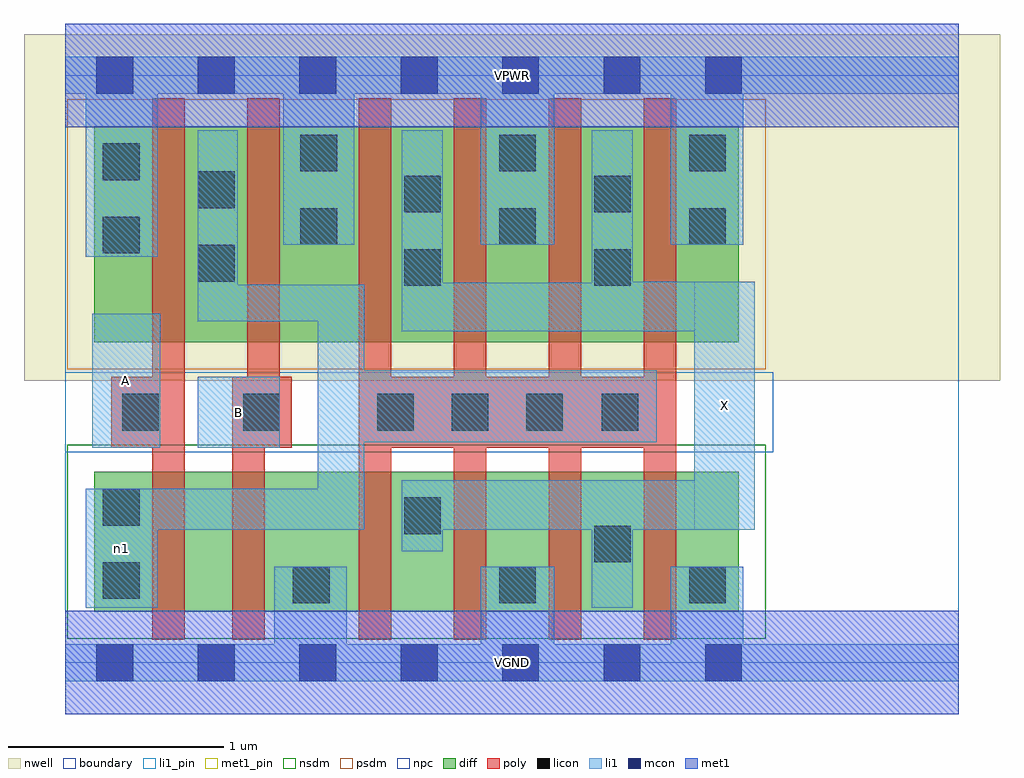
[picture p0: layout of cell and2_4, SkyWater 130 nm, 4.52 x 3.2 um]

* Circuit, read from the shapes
.subckt and2_4 A B VGND VPWR X n1
XM1 n2 A n1 VSUBS sky130_fd_pr__nfet_01v8 w=0.65 l=0.15
XM2 VGND B n2 VSUBS sky130_fd_pr__nfet_01v8 w=0.65 l=0.15
XM3 X n1 VGND VSUBS sky130_fd_pr__nfet_01v8 w=0.65 l=0.15 m=4
XM4 n1 A VPWR n3 sky130_fd_pr__pfet_01v8 w=1 l=0.15
XM5 VPWR B n1 n3 sky130_fd_pr__pfet_01v8 w=1 l=0.15
XM6 X n1 VPWR n3 sky130_fd_pr__pfet_01v8 w=1 l=0.15 m=4
.ends

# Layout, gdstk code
import gdstk
lib = gdstk.Library(unit=1e-6, precision=1e-09)
def R(c, l, rs):  # rectangles x0, y0, x1, y1
    for r in rs: c.add(gdstk.rectangle(r[:2], r[2:], *l))
def A(c, l, x, y, w, h, nx, ny, dx, dy):  # array of equal rectangles
    R(c, l, [(x+i*dx, y+j*dy, x+i*dx+w, y+j*dy+h) for i in range(nx) for j in range(ny)])
nwell = (64, 20)
diff = (65, 20)
poly = (66, 20)
licon = (66, 44)
li1_pin = (67, 16)
li1 = (67, 20)
mcon = (67, 44)
met1_pin = (68, 16)
met1 = (68, 20)
nsdm = (93, 44)
psdm = (94, 20)
npc = (95, 20)
boundary = (235, 4)

and2_4 = lib.new_cell('and2_4')
R(and2_4, nwell, [(-0.19,1.305,4.33,2.91), (0,1.305,4.14,2.91)])
R(and2_4, diff, [(0.135,0.235,3.12,0.885), (0.135,1.485,3.12,2.485)])
A(and2_4, poly, 1.36, 0.105, 0.15, 2.51, 4, 1, 0.44, 0)
R(and2_4, poly, [(0.405,0.105,0.555,2.615), (0.775,0.105,0.925,1.325), (0.215,0.995,0.555,1.325), (0.775,0.995,1.05,1.325), (0.845,0.995,0.995,2.615), (1.36,0.995,2.83,1.325)])
A(and2_4, licon, 1.445, 1.075, 0.17, 0.17, 3, 1, 0.345, 0)
R(and2_4, licon, [(1.055,0.275,1.225,0.445), (2.01,0.275,2.18,0.445), (2.89,0.275,3.06,0.445), (0.175,0.295,0.345,0.465), (2.45,0.465,2.62,0.635), (1.57,0.595,1.74,0.765), (0.175,0.635,0.345,0.805), (0.265,1.075,0.435,1.245), (0.825,1.075,0.995,1.245), (2.485,1.075,2.655,1.245), (1.57,1.745,1.74,1.915), (2.45,1.745,2.62,1.915), (0.615,1.765,0.785,1.935), (0.175,1.895,0.345,2.065), (1.09,1.935,1.26,2.105), (2.01,1.935,2.18,2.105), (2.89,1.935,3.06,2.105), (1.57,2.085,1.74,2.255), (2.45,2.085,2.62,2.255), (0.615,2.105,0.785,2.275), (0.175,2.235,0.345,2.405), (1.09,2.275,1.26,2.445), (2.01,2.275,2.18,2.445), (2.89,2.275,3.06,2.445)])
R(and2_4, li1_pin, [(2.915,0.615,3.195,1.765), (0.125,0.995,0.44,1.615), (0.615,0.995,0.995,1.325)])
R(and2_4, li1, [(0,-0.085,4.14,0.085), (0.97,-0.085,1.305,0.445), (1.925,-0.085,2.265,0.445), (2.805,-0.085,3.14,0.445), (0.095,0.255,0.43,0.805), (2.44,0.255,2.63,0.845), (1.56,0.515,1.75,0.845), (0.095,0.615,1.385,0.805), (1.17,0.615,1.385,1.75), (1.56,0.615,3.195,0.845), (2.915,0.615,3.195,1.765), (0.125,0.995,0.44,1.615), (0.615,0.995,0.995,1.325), (1.17,1.02,2.74,1.355), (1.56,1.535,3.195,1.76), (1.56,1.535,1.75,2.465), (2.44,1.535,2.63,2.465), (2.44,1.535,3.195,1.765), (0.615,1.58,0.8,2.465), (0.615,1.58,1.385,1.75), (0.095,1.88,0.43,2.805), (1.01,1.935,1.34,2.805), (1.925,1.935,2.265,2.805), (2.805,1.935,3.14,2.805), (0,2.635,4.14,2.805)])
A(and2_4, mcon, 0.145, -0.085, 0.17, 0.17, 7, 2, 0.47, 2.72)
R(and2_4, met1_pin, [(0,-0.24,4.14,0.24), (0,2.48,4.14,2.96)])
R(and2_4, met1, [(0,-0.24,4.14,0.24), (0,2.48,4.14,2.96)])
R(and2_4, nsdm, [(0.01,0.11,3.245,1.01)])
R(and2_4, psdm, [(0.01,1.36,3.245,2.61)])
R(and2_4, npc, [(0,0.975,3.28,1.345)])
R(and2_4, boundary, [(0,0,4.14,2.72)])
and2_4.add(gdstk.Label('A', (0.282,1.305), layer=67, texttype=5))
and2_4.add(gdstk.Label('B', (0.805,1.16), layer=67, texttype=5))
and2_4.add(gdstk.Label('X', (3.055,1.19), layer=67, texttype=5))
and2_4.add(gdstk.Label('n1', (0.262,0.53), layer=67, texttype=5))
and2_4.add(gdstk.Label('VPWR', (2.07,2.72), layer=68, texttype=5))
and2_4.add(gdstk.Label('VGND', (2.07,0), layer=68, texttype=5))
and2_4.add(gdstk.Label('A', (0.282,1.305), layer=67, texttype=16))
and2_4.add(gdstk.Label('B', (0.805,1.16), layer=67, texttype=16))
and2_4.add(gdstk.Label('X', (3.055,1.19), layer=67, texttype=16))
and2_4.add(gdstk.Label('VPWR', (2.07,2.72), layer=68, texttype=16))
and2_4.add(gdstk.Label('VGND', (2.07,0), layer=68, texttype=16))

lib.write_gds('and2_4.gds')
